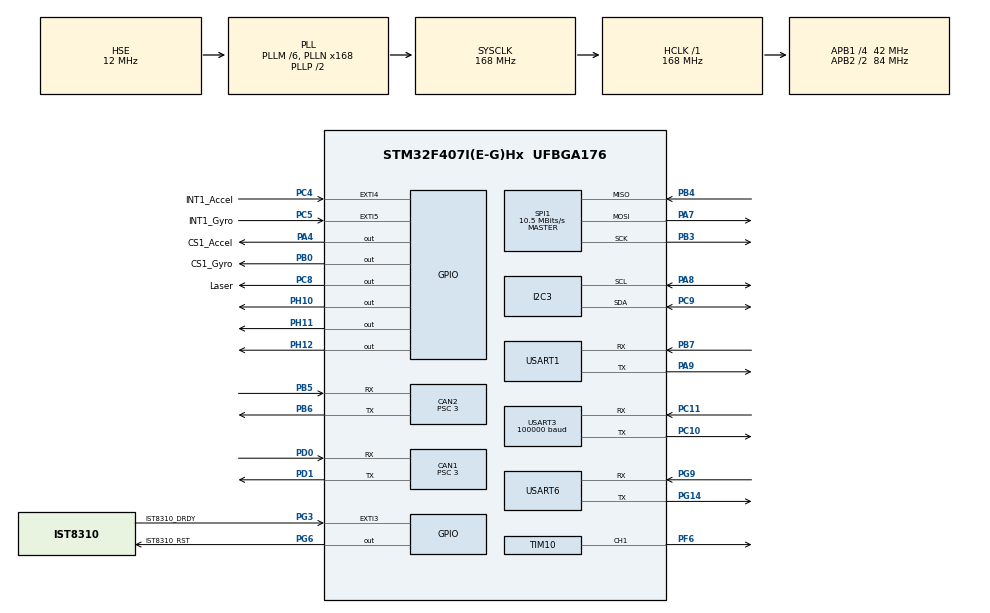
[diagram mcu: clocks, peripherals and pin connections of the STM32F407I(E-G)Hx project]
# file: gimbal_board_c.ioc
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CAN1.BS1=CAN_BS1_10TQ
CAN1.BS2=CAN_BS2_3TQ
CAN1.CalculateBaudRate=1000000
CAN1.CalculateTimeBit=1000
CAN1.CalculateTimeQuantum=71.42857142857143
CAN1.Prescaler=3
CAN2.BS1=CAN_BS1_10TQ
CAN2.BS2=CAN_BS2_3TQ
CAN2.CalculateBaudRate=1000000
CAN2.CalculateTimeBit=1000
CAN2.CalculateTimeQuantum=71.42857142857143
CAN2.Prescaler=3
Dma.Request0=USART1_RX
Dma.Request1=USART1_TX
Dma.Request2=USART3_RX
Dma.Request3=USART3_TX
Dma.Request4=USART6_RX
Dma.Request5=USART6_TX
Dma.Request6=SPI1_RX
Dma.Request7=SPI1_TX
Dma.SPI1_RX.6.Direction=DMA_PERIPH_TO_MEMORY
Dma.SPI1_RX.6.FIFOMode=DMA_FIFOMODE_DISABLE
Dma.SPI1_RX.6.Instance=DMA2_Stream0
Dma.SPI1_RX.6.MemDataAlignment=DMA_MDATAALIGN_BYTE
Dma.SPI1_RX.6.MemInc=DMA_MINC_ENABLE
Dma.SPI1_RX.6.Mode=DMA_NORMAL
Dma.SPI1_RX.6.PeriphDataAlignment=DMA_PDATAALIGN_BYTE
Dma.SPI1_RX.6.PeriphInc=DMA_PINC_DISABLE
Dma.SPI1_RX.6.Priority=DMA_PRIORITY_VERY_HIGH
Dma.SPI1_TX.7.Direction=DMA_MEMORY_TO_PERIPH
Dma.SPI1_TX.7.FIFOMode=DMA_FIFOMODE_DISABLE
Dma.SPI1_TX.7.Instance=DMA2_Stream3
Dma.SPI1_TX.7.MemDataAlignment=DMA_MDATAALIGN_BYTE
Dma.SPI1_TX.7.MemInc=DMA_MINC_ENABLE
Dma.SPI1_TX.7.Mode=DMA_NORMAL
Dma.SPI1_TX.7.PeriphDataAlignment=DMA_PDATAALIGN_BYTE
Dma.SPI1_TX.7.PeriphInc=DMA_PINC_DISABLE
Dma.SPI1_TX.7.Priority=DMA_PRIORITY_HIGH
Dma.USART1_RX.0.Direction=DMA_PERIPH_TO_MEMORY
Dma.USART1_RX.0.FIFOMode=DMA_FIFOMODE_DISABLE
Dma.USART1_RX.0.Instance=DMA2_Stream2
Dma.USART1_RX.0.MemDataAlignment=DMA_MDATAALIGN_BYTE
Dma.USART1_RX.0.MemInc=DMA_MINC_ENABLE
Dma.USART1_RX.0.Mode=DMA_CIRCULAR
Dma.USART1_RX.0.PeriphDataAlignment=DMA_PDATAALIGN_BYTE
Dma.USART1_RX.0.PeriphInc=DMA_PINC_DISABLE
Dma.USART1_RX.0.Priority=DMA_PRIORITY_LOW
Dma.USART1_TX.1.Direction=DMA_MEMORY_TO_PERIPH
Dma.USART1_TX.1.FIFOMode=DMA_FIFOMODE_DISABLE
Dma.USART1_TX.1.Instance=DMA2_Stream7
Dma.USART1_TX.1.MemDataAlignment=DMA_MDATAALIGN_BYTE
Dma.USART1_TX.1.MemInc=DMA_MINC_ENABLE
Dma.USART1_TX.1.Mode=DMA_NORMAL
Dma.USART1_TX.1.PeriphDataAlignment=DMA_PDATAALIGN_BYTE
Dma.USART1_TX.1.PeriphInc=DMA_PINC_DISABLE
Dma.USART1_TX.1.Priority=DMA_PRIORITY_LOW
Dma.USART3_RX.2.Direction=DMA_PERIPH_TO_MEMORY
Dma.USART3_RX.2.FIFOMode=DMA_FIFOMODE_DISABLE
Dma.USART3_RX.2.Instance=DMA1_Stream1
Dma.USART3_RX.2.MemDataAlignment=DMA_MDATAALIGN_BYTE
Dma.USART3_RX.2.MemInc=DMA_MINC_ENABLE
Dma.USART3_RX.2.Mode=DMA_CIRCULAR
Dma.USART3_RX.2.PeriphDataAlignment=DMA_PDATAALIGN_BYTE
Dma.USART3_RX.2.PeriphInc=DMA_PINC_DISABLE
Dma.USART3_RX.2.Priority=DMA_PRIORITY_VERY_HIGH
Dma.USART3_TX.3.Direction=DMA_MEMORY_TO_PERIPH
Dma.USART3_TX.3.FIFOMode=DMA_FIFOMODE_DISABLE
Dma.USART3_TX.3.Instance=DMA1_Stream3
Dma.USART3_TX.3.MemDataAlignment=DMA_MDATAALIGN_BYTE
Dma.USART3_TX.3.MemInc=DMA_MINC_ENABLE
Dma.USART3_TX.3.Mode=DMA_NORMAL
Dma.USART3_TX.3.PeriphDataAlignment=DMA_PDATAALIGN_BYTE
Dma.USART3_TX.3.PeriphInc=DMA_PINC_DISABLE
Dma.USART3_TX.3.Priority=DMA_PRIORITY_LOW
Dma.USART6_RX.4.Direction=DMA_PERIPH_TO_MEMORY
Dma.USART6_RX.4.FIFOMode=DMA_FIFOMODE_DISABLE
Dma.USART6_RX.4.Instance=DMA2_Stream1
Dma.USART6_RX.4.MemDataAlignment=DMA_MDATAALIGN_BYTE
Dma.USART6_RX.4.MemInc=DMA_MINC_ENABLE
Dma.USART6_RX.4.Mode=DMA_CIRCULAR
Dma.USART6_RX.4.PeriphDataAlignment=DMA_PDATAALIGN_BYTE
Dma.USART6_RX.4.PeriphInc=DMA_PINC_DISABLE
Dma.USART6_RX.4.Priority=DMA_PRIORITY_LOW
Dma.USART6_TX.5.Direction=DMA_MEMORY_TO_PERIPH
Dma.USART6_TX.5.FIFOMode=DMA_FIFOMODE_DISABLE
Dma.USART6_TX.5.Instance=DMA2_Stream6
Dma.USART6_TX.5.MemDataAlignment=DMA_MDATAALIGN_BYTE
Dma.USART6_TX.5.MemInc=DMA_MINC_ENABLE
Dma.USART6_TX.5.Mode=DMA_NORMAL
Dma.USART6_TX.5.PeriphDataAlignment=DMA_PDATAALIGN_BYTE
Dma.USART6_TX.5.PeriphInc=DMA_PINC_DISABLE
Dma.USART6_TX.5.Priority=DMA_PRIORITY_LOW
FREERTOS.INCLUDE_uxTaskGetStackHighWaterMark=1
FREERTOS.Tasks01=defaultTask,0,128,StartDefaultTask,Default,NULL,Dynamic,NULL,NULL;myTask02,-3,128,StartTask02,Default,NULL,Dynamic,NULL,NULL;myTask03,-3,128,StartTask03,Default,NULL,Dynamic,NULL,NULL;myTask04,-3,128,StartTask04,Default,NULL,Dynamic,NULL,NULL;myTask05,-3,128,StartTask05,Default,NULL,Dynamic,NULL,NULL;myTask06,-3,128,StartTask06,Default,NULL,Dynamic,NULL,NULL;myTask07,-3,128,StartTask07,Default,NULL,Dynamic,NULL,NULL;myTask08,-3,128,StartTask08,Default,NULL,Dynamic,NULL,NULL;myTask09,3,128,StartTask09,Default,NULL,Dynamic,NULL,NULL
I2C3.I2C_Mode=I2C_Fast
Mcu.Family=STM32F4
Mcu.Name=STM32F407I(E-G)Hx
Mcu.Package=UFBGA176
NVIC.CAN1_RX0_IRQn=true\:5\:0\:false\:false\:true\:true\:true\:true\:true
NVIC.CAN1_TX_IRQn=true\:5\:0\:false\:false\:true\:true\:true\:true\:true
NVIC.CAN2_RX0_IRQn=true\:5\:0\:false\:false\:true\:true\:true\:true\:true
NVIC.CAN2_TX_IRQn=true\:5\:0\:false\:false\:true\:true\:true\:true\:true
NVIC.DMA1_Stream1_IRQn=true\:5\:0\:false\:false\:true\:true\:false\:true\:true
NVIC.DMA1_Stream3_IRQn=true\:5\:0\:false\:false\:true\:true\:false\:true\:true
NVIC.DMA2_Stream0_IRQn=true\:5\:0\:false\:false\:true\:true\:false\:true\:true
NVIC.DMA2_Stream1_IRQn=true\:5\:0\:false\:false\:true\:true\:false\:true\:true
NVIC.DMA2_Stream2_IRQn=true\:5\:0\:false\:false\:true\:true\:false\:true\:true
NVIC.DMA2_Stream3_IRQn=true\:5\:0\:false\:false\:true\:true\:false\:true\:true
NVIC.DMA2_Stream6_IRQn=true\:5\:0\:false\:false\:true\:true\:false\:true\:true
NVIC.DMA2_Stream7_IRQn=true\:5\:0\:false\:false\:true\:true\:false\:true\:true
NVIC.EXTI3_IRQn=true\:5\:0\:false\:false\:true\:true\:true\:true\:true
NVIC.EXTI4_IRQn=true\:5\:0\:false\:false\:true\:true\:true\:true\:true
NVIC.EXTI9_5_IRQn=true\:5\:0\:false\:false\:true\:true\:true\:true\:true
NVIC.PriorityGroup=NVIC_PRIORITYGROUP_4
NVIC.SPI1_IRQn=true\:5\:0\:false\:false\:true\:true\:true\:true\:true
NVIC.TIM1_BRK_TIM9_IRQn=true\:5\:0\:false\:false\:true\:true\:true\:true\:true
NVIC.TIM2_IRQn=true\:5\:0\:false\:false\:true\:true\:true\:true\:true
NVIC.TIM3_IRQn=true\:15\:0\:false\:false\:true\:false\:false\:true\:true
NVIC.TIM8_BRK_TIM12_IRQn=true\:5\:0\:false\:false\:true\:true\:true\:true\:true
NVIC.TIM8_UP_TIM13_IRQn=true\:5\:0\:false\:false\:true\:true\:true\:true\:true
NVIC.TimeBase=TIM3_IRQn
NVIC.TimeBaseIP=TIM3
NVIC.USART1_IRQn=true\:5\:0\:false\:false\:true\:true\:true\:true\:true
NVIC.USART3_IRQn=true\:5\:0\:false\:false\:true\:true\:true\:true\:true
NVIC.USART6_IRQn=true\:5\:0\:false\:false\:true\:true\:true\:true\:true
PA13.Mode=Serial_Wire
PA13.Signal=SYS_JTMS-SWDIO
PA14.Mode=Serial_Wire
PA14.Signal=SYS_JTCK-SWCLK
PA4.GPIO_Label=CS1_Accel
PA4.GPIO_PuPd=GPIO_PULLUP
PA4.GPIO_Speed=GPIO_SPEED_FREQ_HIGH
PA4.PinState=GPIO_PIN_SET
PA4.Signal=GPIO_Output
PA7.Mode=Full_Duplex_Master
PA7.Signal=SPI1_MOSI
PA8.Mode=I2C
PA8.Signal=I2C3_SCL
PA9.Mode=Asynchronous
PA9.Signal=USART1_TX
PB0.GPIO_Label=CS1_Gyro
PB0.GPIO_PuPd=GPIO_PULLUP
PB0.GPIO_Speed=GPIO_SPEED_FREQ_HIGH
PB0.PinState=GPIO_PIN_SET
PB0.Signal=GPIO_Output
PB3.Mode=Full_Duplex_Master
PB3.Signal=SPI1_SCK
PB4.Mode=Full_Duplex_Master
PB4.Signal=SPI1_MISO
PB5.Mode=CAN_Activate
PB5.Signal=CAN2_RX
PB6.Mode=CAN_Activate
PB6.Signal=CAN2_TX
PB7.Mode=Asynchronous
PB7.Signal=USART1_RX
PC10.Mode=Asynchronous
PC10.Signal=USART3_TX
PC11.Mode=Asynchronous
PC11.Signal=USART3_RX
PC4.GPIO_Label=INT1_Accel
PC4.GPIO_ModeDefaultEXTI=GPIO_MODE_IT_FALLING
PC4.GPIO_PuPd=GPIO_PULLUP
PC4.Signal=GPXTI4
PC5.GPIO_Label=INT1_Gyro
PC5.GPIO_ModeDefaultEXTI=GPIO_MODE_IT_FALLING
PC5.GPIO_PuPd=GPIO_PULLUP
PC5.Signal=GPXTI5
PC8.GPIO_Label=Laser
PC8.GPIO_PuPd=GPIO_PULLUP
PC8.Signal=GPIO_Output
PC9.Mode=I2C
PC9.Signal=I2C3_SDA
PD0.Mode=CAN_Activate
PD0.Signal=CAN1_RX
PD1.Mode=CAN_Activate
PD1.Signal=CAN1_TX
PF6.Signal=S_TIM10_CH1
PG14.Mode=Asynchronous
PG14.Signal=USART6_TX
PG3.GPIO_Label=IST8310_DRDY
PG3.GPIO_PuPd=GPIO_PULLUP
PG3.Signal=GPXTI3
PG6.GPIO_Label=IST8310_RST
PG6.GPIO_PuPd=GPIO_PULLUP
PG6.GPIO_Speed=GPIO_SPEED_FREQ_MEDIUM
PG6.PinState=GPIO_PIN_SET
PG6.Signal=GPIO_Output
PG9.Mode=Asynchronous
PG9.Signal=USART6_RX
PH0-OSC_IN.Mode=HSE-External-Oscillator
PH0-OSC_IN.Signal=RCC_OSC_IN
PH1-OSC_OUT.Mode=HSE-External-Oscillator
PH1-OSC_OUT.Signal=RCC_OSC_OUT
PH10.GPIO_PuPd=GPIO_PULLUP
PH10.Signal=GPIO_Output
PH11.GPIO_PuPd=GPIO_PULLUP
PH11.Signal=GPIO_Output
PH12.GPIO_PuPd=GPIO_PULLUP
PH12.Signal=GPIO_Output
ProjectManager.HeapSize=0x200
ProjectManager.StackSize=0x400
ProjectManager.TargetToolchain=MDK-ARM V5.32
RCC.48MHZClocksFreq_Value=84000000
RCC.AHBFreq_Value=168000000
RCC.APB1CLKDivider=RCC_HCLK_DIV4
RCC.APB1Freq_Value=42000000
RCC.APB1TimFreq_Value=84000000
RCC.APB2CLKDivider=RCC_HCLK_DIV2
RCC.APB2Freq_Value=84000000
RCC.APB2TimFreq_Value=168000000
RCC.CortexFreq_Value=168000000
RCC.HCLKFreq_Value=168000000
RCC.HSE_VALUE=12000000
RCC.HSI_VALUE=16000000
RCC.LSE_VALUE=32768
RCC.PLLM=6
RCC.PLLN=168
RCC.PLLSourceVirtual=RCC_PLLSOURCE_HSE
RCC.SYSCLKFreq_VALUE=168000000
RCC.SYSCLKSource=RCC_SYSCLKSOURCE_PLLCLK
RCC.VCOOutputFreq_Value=336000000
SH.S_TIM10_CH1.0=TIM10_CH1,PWM Generation1 CH1
SPI1.BaudRatePrescaler=SPI_BAUDRATEPRESCALER_8
SPI1.CLKPhase=SPI_PHASE_2EDGE
SPI1.CLKPolarity=SPI_POLARITY_HIGH
SPI1.CalculateBaudRate=10.5 MBits/s
SPI1.DataSize=SPI_DATASIZE_8BIT
SPI1.Direction=SPI_DIRECTION_2LINES
SPI1.Mode=SPI_MODE_MASTER
SPI1.VirtualType=VM_MASTER
TIM1.Period=100-1
TIM1.Prescaler=16800-1
TIM10.Channel=TIM_CHANNEL_1
TIM10.Period=5000-1
TIM2.Period=100-1
TIM2.Prescaler=8400
TIM8.Period=100-1
TIM8.Prescaler=16800-1
TIM9.Period=100-1
TIM9.Prescaler=16800-1
USART1.VirtualMode=VM_ASYNC
USART3.BaudRate=100000
USART3.VirtualMode=VM_ASYNC
USART6.VirtualMode=VM_ASYNC
VP_FREERTOS_VS_CMSIS_V1.Mode=CMSIS_V1
VP_SYS_VS_tim3.Mode=TIM3
VP_TIM10_VS_ClockSourceINT.Mode=Enable_Timer
VP_TIM1_VS_ClockSourceINT.Mode=Internal
VP_TIM2_VS_ClockSourceINT.Mode=Internal
VP_TIM8_VS_ClockSourceINT.Mode=Internal
VP_TIM9_VS_ClockSourceINT.Mode=Internal
board=custom

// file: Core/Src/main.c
/* USER CODE BEGIN Header */
/**
  ******************************************************************************
  * @file           : main.c
  * @brief          : Main program body
  ******************************************************************************
  * @attention
  *
  * Copyright (c) 2022 STMicroelectronics.
  * All rights reserved.
  *
  * This software is licensed under terms that can be found in the LICENSE file
  * in the root directory of this software component.
  * If no LICENSE file comes with this software, it is provided AS-IS.
  *
  ******************************************************************************
  */
/* USER CODE END Header */
#include "main.h"
#include "cmsis_os.h"
#include "can.h"
#include "dma.h"
#include "i2c.h"
#include "spi.h"
#include "tim.h"
#include "usart.h"
#include "gpio.h"

/* USER CODE BEGIN Includes */
#include "remote_control.h"
#include "Can_user.h"
/* USER CODE END Includes */

/* USER CODE BEGIN PTD */
//全局变量

// CAN_HandleTypeDef hcan1;
// CAN_HandleTypeDef hcan2;
uint16_t can_cnt_1;
uint16_t can_cnt_2;
float target_speed[7];//实测最大空载转速320rpm
float target_speed_can_2[7];//实测最大空载转速320rpm
moto_info_t motor_info[MOTOR_MAX_NUM];		//赋予最大的7个字节
moto_info_t motor_info_can_2[MOTOR_MAX_NUM];		//赋予最大的7个字节
pid_struct_t motor_pid[7];
pid_struct_t motor_pid_can_2[7];
uint8_t can_flag=0;
double step=9158/660;
double r;
double sin_sita;
double cos_sita;
double target_v;
int16_t target_int1;
int16_t target_int2;//用于叠加旋转和直行
double target_curl;
float yuntai_step=60*(1024-364);

//摩擦轮
uint8_t             rx_data[8];

//磁力计
fp32 mag[3];

//加速度计和陀螺仪
fp32 gyro[3], accel[3], temp;
uint8_t buf_accel[8]={0};
uint8_t buf_gyro[8]={0};
uint8_t pTxData;
uint8_t pRxData;
float quat[4] = {1.0f, 0.0f, 0.0f, 0.0f};
float INS_angle[3] = {0.0f, 0.0f, 0.0f};

//加速度计解算欧拉角
float roll_accel;
float pitch_accel;

//陀螺仪解算矩阵变量
//float gyro_vector[3]={0};//陀螺仪数据存储
//arm_matrix_instance_f32 gyro_matrix;//矩阵结构体

//四元素
float q0=1;
float q1=0;
float q2=0;
float q3=0;
float T;
float halfT=0.0005;
float pitch;
float roll;
float yaw;

//一些姿态解算辅助变量
						float norm;
						float gx, gy, gz;//陀螺仪
						float ax, ay, az;//加速度计
						float vx, vy, vz, wx, wy, wz;
						float ex, ey, ez;
						float exInt, eyInt, ezInt;
						float Kp=0, Ki=0;

/* USER CODE END PTD */

void SystemClock_Config(void);
void MX_FREERTOS_Init(void);

int main(void)
{

  /* MCU Configuration--------------------------------------------------------*/

  /* Reset of all peripherals, Initializes the Flash interface and the Systick. */
       HAL_Init();

  /* Configure the system clock */
  SystemClock_Config();

  /* Initialize all configured peripherals */
  MX_GPIO_Init();
  MX_DMA_Init();
  MX_CAN1_Init();
  MX_CAN2_Init();
  MX_I2C3_Init();
  MX_USART1_UART_Init();
  MX_USART3_UART_Init();
  MX_USART6_UART_Init();
  MX_TIM1_Init();
  MX_TIM2_Init();
  MX_TIM8_Init();
  MX_TIM9_Init();
  MX_SPI1_Init();
  MX_TIM10_Init();
  /* USER CODE BEGIN 2 */
	HAL_TIM_PWM_Start(&htim10,TIM_CHANNEL_1);
  remote_control_init();
	//ist8310_init();
	HAL_NVIC_SetPriority(TIM2_IRQn, 0, 0);//修改TIM2中断优先级
	can_1_user_init(&hcan1);//配置can1的过滤器
	can_2_user_init(&hcan2);//配置can2的过滤器,过滤器bank不一样
	HAL_NVIC_SetPriority(SysTick_IRQn,1,1);//调高HAL_Delay的时钟中断优先级
  /* USER CODE END 2 */

  /* Call init function for freertos objects (in freertos.c) */
  MX_FREERTOS_Init();

  /* Start scheduler */
  osKernelStart();

  /* We should never get here as control is now taken by the scheduler */
  /* Infinite loop */
  while (1)
  {

  }
}

void SystemClock_Config(void)
{
  RCC_OscInitTypeDef RCC_OscInitStruct = {0};
  RCC_ClkInitTypeDef RCC_ClkInitStruct = {0};

  /** Configure the main internal regulator output voltage
  */
  __HAL_RCC_PWR_CLK_ENABLE();
  __HAL_PWR_VOLTAGESCALING_CONFIG(PWR_REGULATOR_VOLTAGE_SCALE1);

  /** Initializes the RCC Oscillators according to the specified parameters
  * in the RCC_OscInitTypeDef structure.
  */
  RCC_OscInitStruct.OscillatorType = RCC_OSCILLATORTYPE_HSE;
  RCC_OscInitStruct.HSEState = RCC_HSE_ON;
  RCC_OscInitStruct.PLL.PLLState = RCC_PLL_ON;
  RCC_OscInitStruct.PLL.PLLSource = RCC_PLLSOURCE_HSE;
  RCC_OscInitStruct.PLL.PLLM = 6;
  RCC_OscInitStruct.PLL.PLLN = 168;
  RCC_OscInitStruct.PLL.PLLP = RCC_PLLP_DIV2;
  RCC_OscInitStruct.PLL.PLLQ = 4;
  if (HAL_RCC_OscConfig(&RCC_OscInitStruct) != HAL_OK)
  {
    Error_Handler();
  }

  /** Initializes the CPU, AHB and APB buses clocks
  */
  RCC_ClkInitStruct.ClockType = RCC_CLOCKTYPE_HCLK|RCC_CLOCKTYPE_SYSCLK
                              |RCC_CLOCKTYPE_PCLK1|RCC_CLOCKTYPE_PCLK2;
  RCC_ClkInitStruct.SYSCLKSource = RCC_SYSCLKSOURCE_PLLCLK;
  RCC_ClkInitStruct.AHBCLKDivider = RCC_SYSCLK_DIV1;
  RCC_ClkInitStruct.APB1CLKDivider = RCC_HCLK_DIV4;
  RCC_ClkInitStruct.APB2CLKDivider = RCC_HCLK_DIV2;

  if (HAL_RCC_ClockConfig(&RCC_ClkInitStruct, FLASH_LATENCY_5) != HAL_OK)
  {
    Error_Handler();
  }
}

void HAL_TIM_PeriodElapsedCallback(TIM_HandleTypeDef *htim)
{
  if (htim->Instance == TIM3) {
    HAL_IncTick();
  }
}

void Error_Handler(void)
{
  __disable_irq();
  while (1)
  {
  }
}
